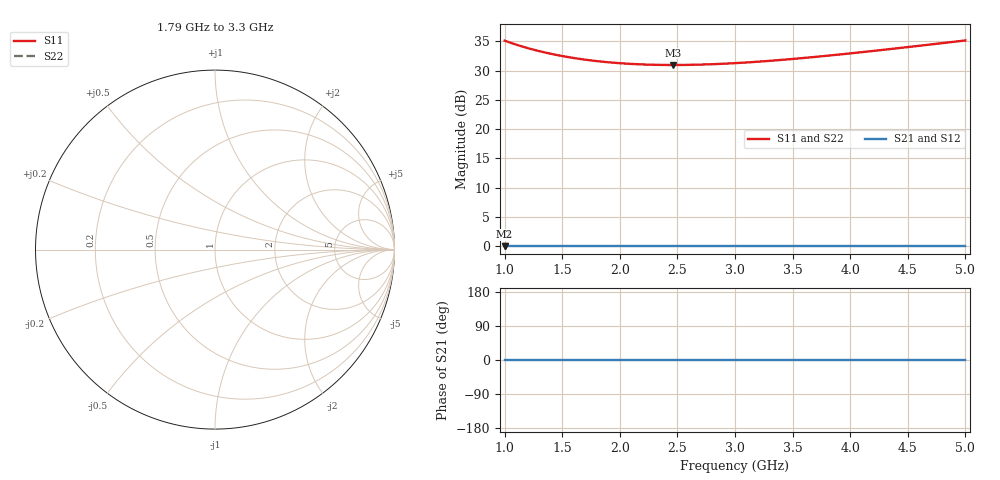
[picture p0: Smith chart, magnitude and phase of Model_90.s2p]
# GHZ S RI R 50
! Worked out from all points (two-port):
!   401 points, 1 GHz to 5 GHz, reference 50 ohm
!   highest |S21| = 0.00 dB at 1 GHz (marker M1); lowest = 0.0 dB at 1 GHz (marker M2)
!   |S21| within 3 dB of the highest: start of sweep to end of sweep
!   lowest |S11| = 31.0 dB at 2.46 GHz (marker M3)
!   |S11| at or under -10 dB: nowhere
!   |S22| runs from 31.0 to 35.2 dB; largest |S21 - S12| = 0
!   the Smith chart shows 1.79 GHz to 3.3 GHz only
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1  57.16 0  1 0  1 0  57.16 0
1.02  56.22 0  1 0  1 0  56.22 0
1.15  51.02 0  1 0  1 0  51.02 0
1.22  48.74 0  1 0  1 0  48.74 0
1.3  46.5 0  1 0  1 0  46.5 0
1.38  44.58 0  1 0  1 0  44.58 0
1.47  42.74 0  1 0  1 0  42.74 0
1.57  41.04 0  1 0  1 0  41.04 0
1.67  39.64 0  1 0  1 0  39.64 0
1.82  38.01 0  1 0  1 0  38.01 0
1.98  36.77 0  1 0  1 0  36.77 0
2.15  35.93 0  1 0  1 0  35.93 0
2.34  35.46 0  1 0  1 0  35.46 0
2.46  35.38 0  1 0  1 0  35.38 0
2.72  35.7 0  1 0  1 0  35.7 0
3  36.69 0  1 0  1 0  36.69 0
3.33  38.59 0  1 0  1 0  38.59 0
3.67  41.25 0  1 0  1 0  41.25 0
4  44.45 0  1 0  1 0  44.45 0
4.34  48.32 0  1 0  1 0  48.32 0
4.64  52.18 0  1 0  1 0  52.18 0
5  57.35 0  1 0  1 0  57.35 0
